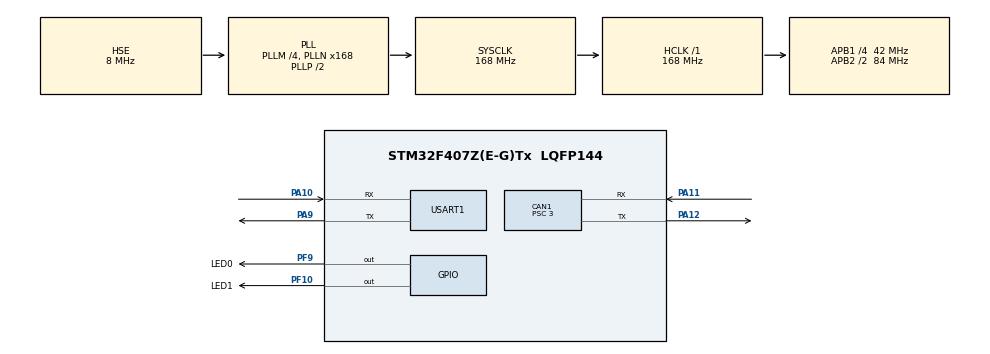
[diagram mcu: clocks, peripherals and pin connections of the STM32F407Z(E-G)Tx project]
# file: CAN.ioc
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CAN1.ABOM=DISABLE
CAN1.BS1=CAN_BS1_9TQ
CAN1.BS2=CAN_BS2_4TQ
CAN1.CalculateBaudRate=1000000
CAN1.CalculateTimeBit=999.99
CAN1.CalculateTimeQuantum=71.42857142857143
CAN1.Prescaler=3
CAN1.SJW=CAN_SJW_2TQ
CAN1.TXFP=DISABLE
FREERTOS.BinarySemaphores01=canfstvl_timer_sem,Dynamic,NULL
FREERTOS.Mutexes01=canfstvl_mutex,Dynamic,NULL
FREERTOS.Queues01=CAN_RX_MSG,10,CANmsgTypeDef,0,Dynamic,NULL,NULL
FREERTOS.Tasks01=defaultTask,0,128,StartDefaultTask,Default,NULL,Dynamic,NULL,NULL;CANTask,0,2048,CANprocess_thread,Default,NULL,Dynamic,NULL,NULL
FREERTOS.configUSE_TICK_HOOK=0
FREERTOS.configUSE_TIMERS=0
Mcu.Family=STM32F4
Mcu.Name=STM32F407Z(E-G)Tx
Mcu.Package=LQFP144
NVIC.CAN1_RX0_IRQn=true\:5\:0\:false\:false\:true\:true\:true\:true
NVIC.PriorityGroup=NVIC_PRIORITYGROUP_4
NVIC.RCC_IRQn=true\:5\:0\:false\:false\:true\:true\:true\:false
NVIC.TIM1_UP_TIM10_IRQn=true\:15\:0\:false\:false\:true\:false\:false\:true
NVIC.TIM8_UP_TIM13_IRQn=true\:5\:0\:false\:false\:true\:true\:true\:true
NVIC.TimeBase=TIM1_UP_TIM10_IRQn
NVIC.TimeBaseIP=TIM1
PA10.Mode=Asynchronous
PA10.Signal=USART1_RX
PA11.Mode=CAN_Activate
PA11.Signal=CAN1_RX
PA12.Mode=CAN_Activate
PA12.Signal=CAN1_TX
PA13.Mode=Serial_Wire
PA13.Signal=SYS_JTMS-SWDIO
PA14.Mode=Serial_Wire
PA14.Signal=SYS_JTCK-SWCLK
PA9.Mode=Asynchronous
PA9.Signal=USART1_TX
PF10.GPIO_Label=LED1
PF10.Signal=GPIO_Output
PF9.GPIO_Label=LED0
PF9.Signal=GPIO_Output
PH0-OSC_IN.Mode=HSE-External-Oscillator
PH0-OSC_IN.Signal=RCC_OSC_IN
PH1-OSC_OUT.Mode=HSE-External-Oscillator
PH1-OSC_OUT.Signal=RCC_OSC_OUT
ProjectManager.HeapSize=0x200
ProjectManager.StackSize=0x400
ProjectManager.TargetToolchain=MDK-ARM V5.32
RCC.48MHZClocksFreq_Value=84000000
RCC.AHBFreq_Value=168000000
RCC.APB1CLKDivider=RCC_HCLK_DIV4
RCC.APB1Freq_Value=42000000
RCC.APB1TimFreq_Value=84000000
RCC.APB2CLKDivider=RCC_HCLK_DIV2
RCC.APB2Freq_Value=84000000
RCC.APB2TimFreq_Value=168000000
RCC.CortexFreq_Value=168000000
RCC.HCLKFreq_Value=168000000
RCC.HSE_VALUE=8000000
RCC.HSI_VALUE=16000000
RCC.LSE_VALUE=32768
RCC.PLLM=4
RCC.PLLN=168
RCC.PLLSourceVirtual=RCC_PLLSOURCE_HSE
RCC.SYSCLKFreq_VALUE=168000000
RCC.SYSCLKSource=RCC_SYSCLKSOURCE_PLLCLK
RCC.VCOOutputFreq_Value=336000000
TIM13.Period=1000-1
TIM13.Prescaler=84-1
USART1.VirtualMode=VM_ASYNC
VP_FREERTOS_VS_CMSIS_V1.Mode=CMSIS_V1
VP_SYS_VS_tim1.Mode=TIM1
VP_TIM13_VS_ClockSourceINT.Mode=Enable_Timer
board=custom

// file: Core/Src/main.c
/* USER CODE BEGIN Header */
/**
  ******************************************************************************
  * @file           : main.c
  * @brief          : Main program body
  ******************************************************************************
  * @attention
  *
  * <h2><center>&copy; Copyright (c) 2021 STMicroelectronics.
  * All rights reserved.</center></h2>
  *
  * This software component is licensed by ST under BSD 3-Clause license,
  * the "License"; You may not use this file except in compliance with the
  * License. You may obtain a copy of the License at:
  *                        opensource.org/licenses/BSD-3-Clause
  *
  ******************************************************************************
  */
/* USER CODE END Header */
#include "main.h"
#include "cmsis_os.h"
#include "can.h"
#include "tim.h"
#include "usart.h"
#include "gpio.h"

/* USER CODE BEGIN Includes */
#include "canfestival.h"
#include "CO_slave.h"
/* USER CODE END Includes */

void SystemClock_Config(void);
void MX_FREERTOS_Init(void);

int main(void)
{

  /* MCU Configuration--------------------------------------------------------*/

  /* Reset of all peripherals, Initializes the Flash interface and the Systick. */
  HAL_Init();

  /* Configure the system clock */
  SystemClock_Config();

  /* Initialize all configured peripherals */
  MX_GPIO_Init();
  MX_CAN1_Init();
  MX_USART1_UART_Init();
  MX_TIM13_Init();

  /* Call init function for freertos objects (in freertos.c) */
  MX_FREERTOS_Init();
  /* Start scheduler */
  osKernelStart();

  /* We should never get here as control is now taken by the scheduler */
  /* Infinite loop */
  while (1)
  {

  }
}

void SystemClock_Config(void)
{
  RCC_OscInitTypeDef RCC_OscInitStruct = {0};
  RCC_ClkInitTypeDef RCC_ClkInitStruct = {0};

  /** Configure the main internal regulator output voltage
  */
  __HAL_RCC_PWR_CLK_ENABLE();
  __HAL_PWR_VOLTAGESCALING_CONFIG(PWR_REGULATOR_VOLTAGE_SCALE1);
  /** Initializes the RCC Oscillators according to the specified parameters
  * in the RCC_OscInitTypeDef structure.
  */
  RCC_OscInitStruct.OscillatorType = RCC_OSCILLATORTYPE_HSE;
  RCC_OscInitStruct.HSEState = RCC_HSE_ON;
  RCC_OscInitStruct.PLL.PLLState = RCC_PLL_ON;
  RCC_OscInitStruct.PLL.PLLSource = RCC_PLLSOURCE_HSE;
  RCC_OscInitStruct.PLL.PLLM = 4;
  RCC_OscInitStruct.PLL.PLLN = 168;
  RCC_OscInitStruct.PLL.PLLP = RCC_PLLP_DIV2;
  RCC_OscInitStruct.PLL.PLLQ = 4;
  if (HAL_RCC_OscConfig(&RCC_OscInitStruct) != HAL_OK)
  {
    Error_Handler();
  }
  /** Initializes the CPU, AHB and APB buses clocks
  */
  RCC_ClkInitStruct.ClockType = RCC_CLOCKTYPE_HCLK|RCC_CLOCKTYPE_SYSCLK
                              |RCC_CLOCKTYPE_PCLK1|RCC_CLOCKTYPE_PCLK2;
  RCC_ClkInitStruct.SYSCLKSource = RCC_SYSCLKSOURCE_PLLCLK;
  RCC_ClkInitStruct.AHBCLKDivider = RCC_SYSCLK_DIV1;
  RCC_ClkInitStruct.APB1CLKDivider = RCC_HCLK_DIV4;
  RCC_ClkInitStruct.APB2CLKDivider = RCC_HCLK_DIV2;

  if (HAL_RCC_ClockConfig(&RCC_ClkInitStruct, FLASH_LATENCY_5) != HAL_OK)
  {
    Error_Handler();
  }
}

void HAL_TIM_PeriodElapsedCallback(TIM_HandleTypeDef *htim)
{
  if (htim->Instance == TIM1) {
    HAL_IncTick();
  }
  /* USER CODE BEGIN Callback 1 */
  if (htim->Instance == TIM13)
  {
    timerforCAN();
  }
  /* USER CODE END Callback 1 */
}

void Error_Handler(void)
{
  __disable_irq();
  while (1)
  {
  }
}

/************************ (C) COPYRIGHT STMicroelectronics *****END OF FILE****/

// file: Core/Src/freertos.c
/* USER CODE BEGIN Header */
/**
  ******************************************************************************
  * File Name          : freertos.c
  * Description        : Code for freertos applications
  ******************************************************************************
  * @attention
  *
  * <h2><center>&copy; Copyright (c) 2021 STMicroelectronics.
  * All rights reserved.</center></h2>
  *
  * This software component is licensed by ST under Ultimate Liberty license
  * SLA0044, the "License"; You may not use this file except in compliance with
  * the License. You may obtain a copy of the License at:
  *                             www.st.com/SLA0044
  *
  ******************************************************************************
  */
/* USER CODE END Header */

#include "FreeRTOS.h"
#include "task.h"
#include "main.h"
#include "cmsis_os.h"

/* USER CODE BEGIN Includes */
#include "can.h"
#include "CO_slave.h"
/* USER CODE END Includes */

osThreadId defaultTaskHandle;
osThreadId CANTaskHandle;
osMessageQId CAN_RX_MSGHandle;
osMutexId canfstvl_mutexHandle;
osSemaphoreId canfstvl_timer_semHandle;

void StartDefaultTask(void const * argument);
void CANprocess_thread(void const * argument);

void MX_FREERTOS_Init(void); /* (MISRA C 2004 rule 8.1) */

/* GetIdleTaskMemory prototype (linked to static allocation support) */
void vApplicationGetIdleTaskMemory( StaticTask_t **ppxIdleTaskTCBBuffer, StackType_t **ppxIdleTaskStackBuffer, uint32_t *pulIdleTaskStackSize );

/* USER CODE BEGIN GET_IDLE_TASK_MEMORY */
static StaticTask_t xIdleTaskTCBBuffer;
static StackType_t xIdleStack[configMINIMAL_STACK_SIZE];

void vApplicationGetIdleTaskMemory(StaticTask_t **ppxIdleTaskTCBBuffer, StackType_t **ppxIdleTaskStackBuffer, uint32_t *pulIdleTaskStackSize)
{
  *ppxIdleTaskTCBBuffer = &xIdleTaskTCBBuffer;
  *ppxIdleTaskStackBuffer = &xIdleStack[0];
  *pulIdleTaskStackSize = configMINIMAL_STACK_SIZE;
  /* place for user code */
}
/* USER CODE END GET_IDLE_TASK_MEMORY */

void MX_FREERTOS_Init(void) {
  /* Create the mutex(es) */
  /* definition and creation of canfstvl_mutex */
  osMutexDef(canfstvl_mutex);
  canfstvl_mutexHandle = osMutexCreate(osMutex(canfstvl_mutex));

  /* Create the semaphores(s) */
  /* definition and creation of canfstvl_timer_sem */
  osSemaphoreDef(canfstvl_timer_sem);
  canfstvl_timer_semHandle = osSemaphoreCreate(osSemaphore(canfstvl_timer_sem), 1);

  /* Create the queue(s) */
  /* definition and creation of CAN_RX_MSG */
  osMessageQDef(CAN_RX_MSG, 10, CANmsgTypeDef);
  CAN_RX_MSGHandle = osMessageCreate(osMessageQ(CAN_RX_MSG), NULL);

  /* Create the thread(s) */
  /* definition and creation of defaultTask */
  osThreadDef(defaultTask, StartDefaultTask, osPriorityNormal, 0, 128);
  defaultTaskHandle = osThreadCreate(osThread(defaultTask), NULL);

  /* definition and creation of CANTask */
  osThreadDef(CANTask, CANprocess_thread, osPriorityNormal, 0, 2048);
  CANTaskHandle = osThreadCreate(osThread(CANTask), NULL);

}

/* USER CODE BEGIN Header_StartDefaultTask */
uint16_t count = 0;
/**
  * @brief  Function implementing the defaultTask thread.
  * @param  argument: Not used
  * @retval None
  */
/* USER CODE END Header_StartDefaultTask */
void StartDefaultTask(void const * argument)
{
  /* USER CODE BEGIN StartDefaultTask */

  /* Infinite loop */
  for (;;)
  {
		count++;
		if (count >= 100)
		{
			count = 0;
			LED0 = ~LED0;
			LED1 = ~LED0;
		}
		else
			osDelay(10);
  }
  /* USER CODE END StartDefaultTask */
}

void CANprocess_thread(void const * argument)
{
  /* USER CODE BEGIN CANprocess_thread */
  CAN_Config();
  canopen_init();
  /* Infinite loop */
  for (;;)
  {
		CAN_RXmsg_process();
  }
  /* USER CODE END CANprocess_thread */
}

/************************ (C) COPYRIGHT STMicroelectronics *****END OF FILE****/
